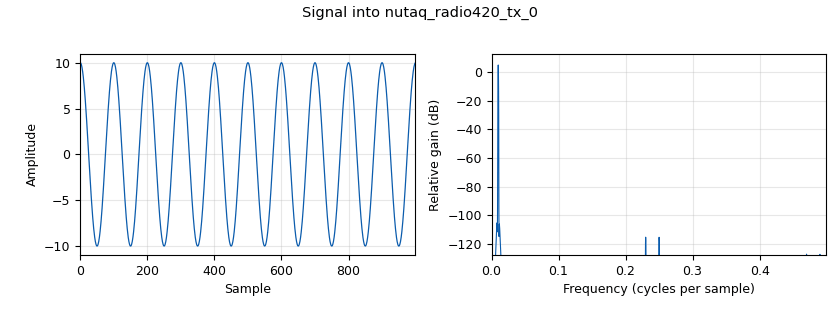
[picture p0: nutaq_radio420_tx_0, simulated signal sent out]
<?xml version='1.0' encoding='utf-8'?>
<flow_graph>
<block>
<key>options</key>
<param><key>id</key><value>dynamic_parameters</value></param>
<param><key>title</key><value>Dynamic Parameters</value></param>
<param><key>generate_options</key><value>wx_gui</value></param>
<param><key>category</key><value>Custom</value></param>
</block>
<block>
<key>variable</key>
<param><key>id</key><value>data_rate</value></param>
<param><key>value</key><value>14.40e6/2</value></param>
</block>
<block>
<key>variable</key>
<param><key>id</key><value>radio420_gain_update_rate</value></param>
<param><key>value</key><value>10</value></param>
</block>
<block>
<key>nutaq_carrier_perseus</key>
<param><key>id</key><value>nutaq_carrier_perseus_0</value></param>
<param><key>ip_addr</key><value>192.168.0.101</value></param>
</block>
<block>
<key>variable_slider</key>
<param><key>id</key><value>dds_freq</value></param>
<param><key>label</key><value>Internal DDS frequency</value></param>
<param><key>value</key><value>1e6</value></param>
<param><key>min</key><value>-data_rate/2</value></param>
<param><key>max</key><value>data_rate/2</value></param>
<param><key>num_steps</key><value>100</value></param>
<param><key>style</key><value>wx.SL_HORIZONTAL</value></param>
<param><key>converver</key><value>float_converter</value></param>
</block>
<block>
<key>variable_slider</key>
<param><key>id</key><value>tx_lo_frequency</value></param>
<param><key>label</key><value>Radio420 TX LO Frequency</value></param>
<param><key>value</key><value>953e6</value></param>
<param><key>min</key><value>943e6</value></param>
<param><key>max</key><value>963e6</value></param>
<param><key>num_steps</key><value>100</value></param>
<param><key>style</key><value>wx.SL_HORIZONTAL</value></param>
<param><key>converver</key><value>float_converter</value></param>
</block>
<block>
<key>analog_sig_source_x</key>
<param><key>id</key><value>analog_sig_source_x_0</value></param>
<param><key>type</key><value>float</value></param>
<param><key>samp_rate</key><value>radio420_gain_update_rate</value></param>
<param><key>waveform</key><value>analog.GR_COS_WAVE</value></param>
<param><key>freq</key><value>0.1</value></param>
<param><key>amp</key><value>10</value></param>
<param><key>offset</key><value>0</value></param>
</block>
<block>
<key>nutaq_radio420_tx</key>
<param><key>id</key><value>nutaq_radio420_tx_0</value></param>
<param><key>target_id</key><value>nutaq_carrier_perseus_0</value></param>
<param><key>block_priority</key><value>0</value></param>
<param><key>selected_card</key><value>1</value></param>
<param><key>enable</key><value>1</value></param>
<param><key>reference</key><value>0</value></param>
<param><key>tx_freq</key><value>tx_lo_frequency</value></param>
<param><key>datarate</key><value>data_rate*2</value></param>
<param><key>calibrate</key><value>1</value></param>
<param><key>band</key><value>0</value></param>
<param><key>update_rate</key><value>radio420_gain_update_rate</value></param>
<param><key>tx_vga1_gain</key><value>-17</value></param>
<param><key>tx_vga2_gain</key><value>5</value></param>
<param><key>tx_gain3</key><value>-4</value></param>
<param><key>tx_lpf_bandwidth</key><value>6</value></param>
<param><key>ref_clk_ctrl</key><value>0</value></param>
<param><key>rf_ctrl</key><value>0</value></param>
<param><key>tx_gain_ctrl</key><value>0</value></param>
<param><key>pll_cpld_ctrl</key><value>0</value></param>
</block>
<block>
<key>nutaq_radio420_rx</key>
<param><key>id</key><value>nutaq_radio420_rx_0</value></param>
<param><key>target_id</key><value>nutaq_carrier_perseus_0</value></param>
<param><key>block_priority</key><value>1</value></param>
<param><key>selected_card</key><value>1</value></param>
<param><key>enable</key><value>0</value></param>
<param><key>reference</key><value>0</value></param>
<param><key>rx_freq</key><value>943e6</value></param>
<param><key>datarate</key><value>data_rate*2</value></param>
<param><key>calibrate</key><value>1</value></param>
<param><key>band</key><value>0</value></param>
<param><key>update_rate</key><value>1</value></param>
<param><key>rx_lna_gain</key><value>2</value></param>
<param><key>rx_vga1_gain</key><value>1</value></param>
<param><key>rx_gain2</key><value>0</value></param>
<param><key>rx_gain3</key><value>-8</value></param>
<param><key>rx_lpf_bandwidth</key><value>6</value></param>
<param><key>rx_rf_filter</key><value>2</value></param>
<param><key>ref_clk_ctrl</key><value>0</value></param>
<param><key>rf_ctrl</key><value>0</value></param>
<param><key>rx_gain_ctrl</key><value>0</value></param>
<param><key>pll_cpld_ctrl</key><value>0</value></param>
</block>
<block>
<key>nutaq_custom_register</key>
<param><key>id</key><value>nutaq_custom_register_0</value></param>
<param><key>target_id</key><value>nutaq_carrier_perseus_0</value></param>
<param><key>block_priority</key><value>2</value></param>
<param><key>index</key><value>1</value></param>
<param><key>value</key><value>1</value></param>
<param><key>update_rate</key><value>1</value></param>
</block>
<block>
<key>nutaq_custom_register</key>
<param><key>id</key><value>nutaq_custom_register_0_0</value></param>
<param><key>target_id</key><value>nutaq_carrier_perseus_0</value></param>
<param><key>block_priority</key><value>3</value></param>
<param><key>index</key><value>0</value></param>
<param><key>value</key><value>int(dds_freq/data_rate*(2**32))</value></param>
<param><key>update_rate</key><value>1</value></param>
</block>
<connection><source_block_id>analog_sig_source_x_0</source_block_id><sink_block_id>nutaq_radio420_tx_0</sink_block_id><source_key>0</source_key><sink_key>0</sink_key></connection>
</flow_graph>
